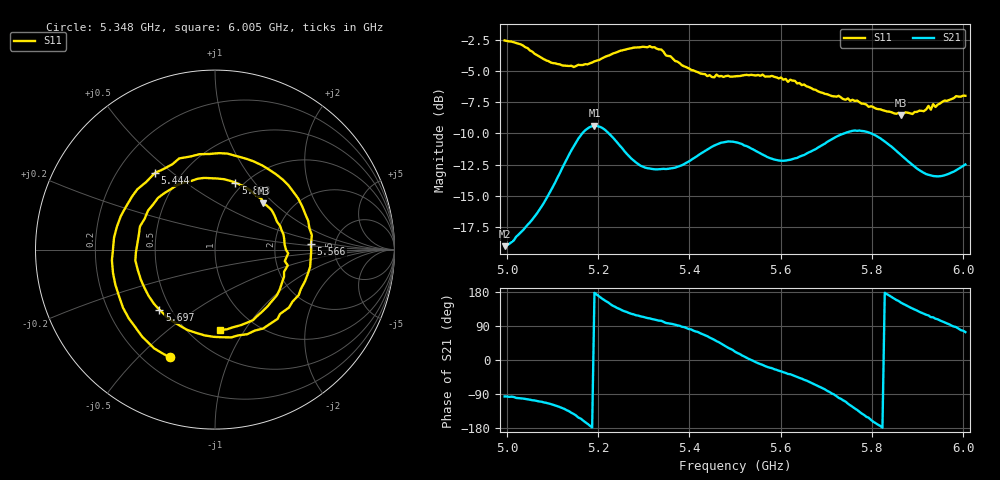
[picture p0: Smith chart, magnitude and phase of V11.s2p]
!File created by NanoVNA
# Hz S RI R 50
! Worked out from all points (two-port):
!   201 points, 4.995 GHz to 6.005 GHz, reference 50 ohm
!   highest |S21| = -9.38 dB at 5.192 GHz (marker M1); lowest = -19.1 dB at 4.995 GHz (marker M2)
!   |S21| within 3 dB of the highest: 5.127 GHz to 5.285 GHz (158.2 MHz wide, 3.04 % of centre); 5.392 GHz to 5.884 GHz (492.2 MHz wide, 8.73 % of centre)
!   lowest |S11| = -8.5 dB at 5.864 GHz (marker M3), VSWR 2.19, Z = 71.6 + j43.1 ohm
!   |S11| at or under -10 dB: nowhere
!   S12 and S22 are empty: the file has one direction only
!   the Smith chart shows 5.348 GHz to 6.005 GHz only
!   S11 on the Smith chart (normalised r, x): 5.348 GHz: 0.30, -0.62; 5.444 GHz: 0.36, +0.44; 5.566 GHz: 3.28, +0.27; 5.697 GHz: 0.43, -0.37; 5.828 GHz: 0.91, +0.81; 6.005 GHz: 0.70, -0.78
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4.995e9  0.2036 -0.7196  -0.0119 -0.1108  0 0  0 0
5.03035e9  -0.3116 -0.6507  -0.0246 -0.1242  0 0  0 0
5.0758e9  -0.6312 -0.0873  -0.0551 -0.1509  0 0  0 0
5.1263e9  -0.3497 0.4781  -0.1515 -0.1854  0 0  0 0
5.1667e9  0.0908 0.5891  -0.2983 -0.113  0 0  0 0
5.19195e9  0.3488 0.5082  -0.3392 0.0163  0 0  0 0
5.26265e9  0.6703 -0.1664  -0.1571 0.2099  0 0  0 0
5.33335e9  -0.023 -0.6881  -0.0539 0.2206  0 0  0 0
5.3485e9  -0.2526 -0.6004  -0.0307 0.2255  0 0  0 0
5.399e9  -0.5745 -0.0594  0.0361 0.2415  0 0  0 0
5.44445e9  -0.3334 0.4284  0.1412 0.2376  0 0  0 0
5.5e9  0.2155 0.4914  0.2709 0.1091  0 0  0 0
5.56565e9  0.5344 0.0294  0.2476 -0.0704  0 0  0 0
5.6313e9  0.268 -0.4396  0.1855 -0.1695  0 0  0 0
5.6717e9  -0.1066 -0.4634  0.1248 -0.2405  0 0  0 0
5.69695e9  -0.3097 -0.3351  0.0631 -0.2808  0 0  0 0
5.74745e9  -0.4182 0.129  -0.1359 -0.2902  0 0  0 0
5.82825e9  0.113 0.3737  -0.2933 0.0138  0 0  0 0
5.83835e9  0.1637 0.3507  -0.2798 0.0495  0 0  0 0
5.8636e9  0.2697 0.2589  -0.228 0.1238  0 0  0 0
5.9343e9  0.4054 -0.0876  -0.0821 0.1969  0 0  0 0
6.005e9  0.0265 -0.4475  0.0671 0.2277  0 0  0 0
